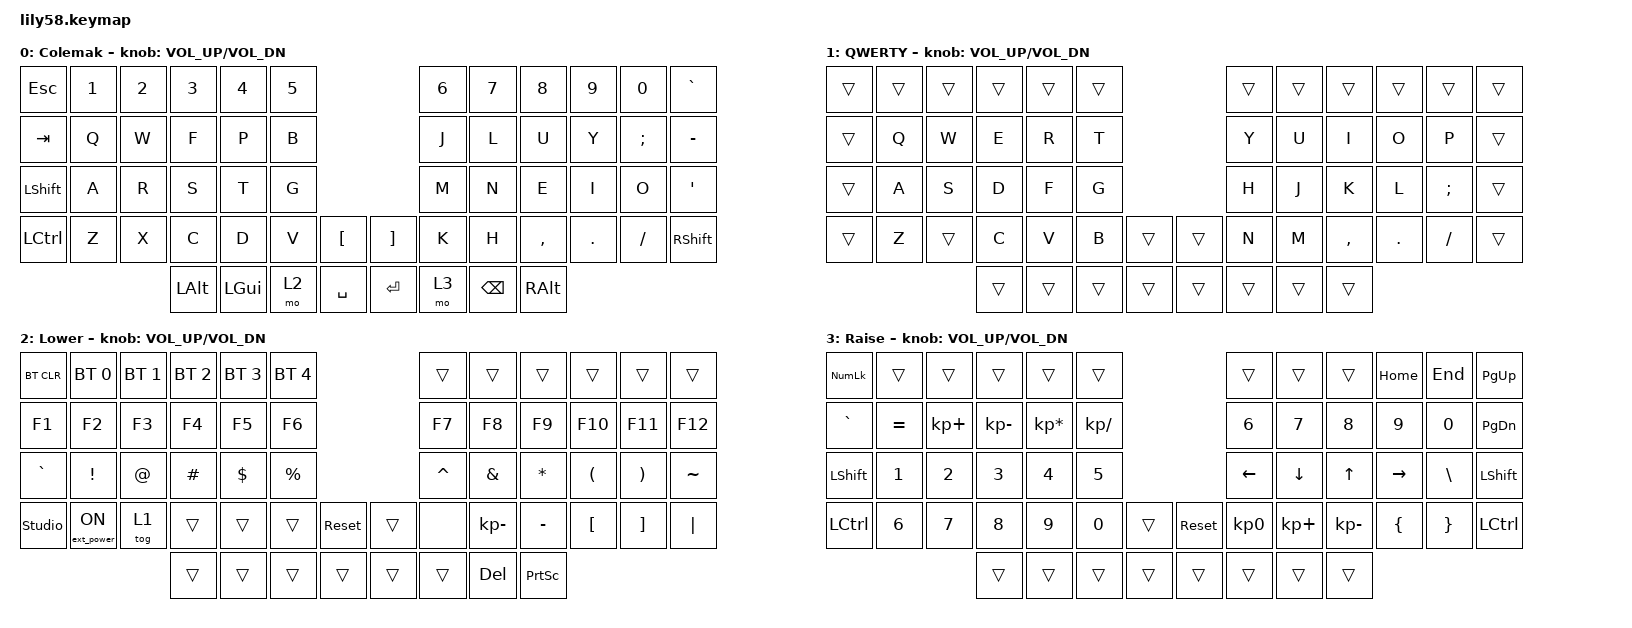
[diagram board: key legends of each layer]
/*
 * Copyright (c) 2020 The ZMK Contributors
 *
 * SPDX-License-Identifier: MIT
 */

#include <behaviors.dtsi>
#include <dt-bindings/zmk/keys.h>
#include <dt-bindings/zmk/bt.h>
#include <dt-bindings/zmk/ext_power.h>


/ {

	macros {
		plus: plus {
			compatible = "zmk,behavior-macro";
			#binding-cells = <0>;
			bindings = <&kp LS(EQUAL)>;
		};
	};

	keymap {
		compatible = "zmk,keymap";

		default_layer {
			display-name = "Colemak";
// ------------------------------------------------------------------------------------------------------------
// |  ESC  |  1  |  2  |  3   |  4   |  5   |                   |  6   |  7    |  8    |  9   |   0   |   `   |
// |  TAB  |  Q  |  W  |  F   |  P   |  B   |                   |  J   |  L    |  U    |  Y   |   ;   |   -   |
// | SHIFT |  A  |  R  |  S   |  T   |  G   |                   |  M   |  N    |  E    |  I   |   O   |   '   |
// | CTRL  |  Z  |  X  |  C   |  D   |  V   |   "["  |  |  "]"  |  K   |  H    |  ,    |  .   |   /   | SHIFT |
//                     | ALT  | GUI  | LOWER|  SPACE |  | ENTER | RAISE| BSPC  | RALT  |
			bindings = <
&kp ESC   &kp N1 &kp N2 &kp N3   &kp N4   &kp N5                     &kp N6 &kp N7   &kp N8    &kp N9  &kp N0   &kp GRAVE
&kp TAB   &kp Q  &kp W  &kp F    &kp P    &kp B                      &kp J  &kp L    &kp U     &kp Y   &kp SEMI &kp MINUS
&kp LSHFT &kp A  &kp R  &kp S    &kp T    &kp G                      &kp M  &kp N    &kp E     &kp I   &kp O    &kp SQT
&kp LCTRL &kp Z  &kp X  &kp C    &kp D    &kp V  &kp LBKT   &kp RBKT &kp K  &kp H    &kp COMMA &kp DOT &kp FSLH &kp RSHFT
                        &kp LALT &kp LGUI &mo 2  &kp SPACE  &kp RET  &mo 3  &kp BSPC &kp RALT
			>;

			sensor-bindings = <&inc_dec_kp C_VOL_UP C_VOL_DN>;
		};

		qwerty_layer {
			display-name = "QWERTY";
// ------------------------------------------------------------------------------------------------------------
// |       |     |     |      |      |      |                   |      |       |       |      |       |       |
// |       |  Q  |  W  |  E   |  R   |  T   |                   |  Y   |  U    |  I    |  O   |   P   |       |
// |       |  A  |  S  |  D   |  F   |  G   |                   |  H   |  J    |  K    |  L   |   ;   |       |
// |       |  Z  |  X  |  C   |  V   |  B   |        |  |       |  N   |  M    |  ,    |  .   |   /   |       |
//                     |      |      |      |        |  |       |      |       |       |
			bindings = <
&trans    &trans &trans &trans   &trans   &trans                     &trans &trans   &trans    &trans  &trans   &trans
&trans    &kp Q  &kp W  &kp E    &kp R    &kp T                      &kp Y  &kp U    &kp I     &kp O   &kp P    &trans
&trans    &kp A  &kp S  &kp D    &kp F    &kp G                      &kp H  &kp J    &kp K     &kp L   &kp SEMI &trans
&trans    &kp Z  &trans &kp C    &kp V    &kp B  &trans     &trans   &kp N  &kp M    &kp COMMA &kp DOT &kp FSLH &trans
                        &trans   &trans   &trans &trans     &trans   &trans &trans   &trans
			>;

			sensor-bindings = <&inc_dec_kp C_VOL_UP C_VOL_DN>;
		};

		lower_layer {
			display-name = "Lower";
// ------------------------------------------------------------------------------------------------------------
// | BTCLR | BT1 | BT2 |  BT3 |  BT4 |  BT5 |                   |      |       |       |      |       |       |
// |  F1   |  F2 |  F3 |  F4  |  F5  |  F6  |                   |  F7  |  F8   |  F9   |  F10 |  F11  |  F12  |
// |   `   |  !  |  @  |  #   |  $   |  %   |                   |  ^   |  &    |  *    |  (   |   )   |   ~   |
// |UNLOCK |EP_ON|     |      |      |      | RESET  |  |       | none |  KP-  |   -   |  [   |   ]   |   |   |
//                     |      |      |      |        |  |       |      |  DEL  | PSCRN |
			bindings = <
&bt BT_CLR &bt BT_SEL 0     &bt BT_SEL 1      &bt BT_SEL 2      &bt BT_SEL 3 &bt BT_SEL 4                 &trans &trans    &trans   &trans   &trans   &trans
&kp F1     &kp F2           &kp F3            &kp F4            &kp F5       &kp F6                       &kp F7 &kp F8    &kp F9   &kp F10  &kp F11  &kp F12
&kp GRAVE  &kp EXCL         &kp AT            &kp HASH          &kp DOLLAR   &kp PRCNT                    &kp CARET &kp AMPS &kp ASTRK &kp LPAR &kp RPAR &kp TILDE
&studio_unlock &ext_power EP_ON &tog 1           &trans            &trans    &trans       &sys_reset   &trans &none &kp KP_MINUS &kp MINUS &kp LBKT &kp RBKT &kp PIPE
                                              &trans            &trans       &trans       &trans       &trans &trans &kp DEL   &kp PSCRN
			>;

			sensor-bindings = <&inc_dec_kp C_VOL_UP C_VOL_DN>;
		};

		raise_layer {
			display-name = "Raise";
// ------------------------------------------------------------------------------------------------------------
// | NLCK  |     |     |      |      |      |                   |      |       |       | HOME | END   | PG_UP |
// |   `   |  =  | KP+ | KP-  | KP*  | KP/  |                   |  6   |  7    |  8    |  9   |   0   | PG_DN |
// | SHIFT |  1  |  2  |  3   |  4   |  5   |                   |  <-  |   v   |   ^   |  ->  |   \   | SHIFT |
// | CTRL  |  6  |  7  |  8   |  9   |  0   | RESET  |  | RESET | KP0  |  KP+  |  KP-  |  {   |   }   | CTRL  |
//                     |      |      |      |        |  |       |      |       |       |
			bindings = <
&kp KP_NUM &trans    &trans      &trans       &trans          &trans                              &trans   &trans   &trans    &kp HOME    &kp END   &kp PG_UP
&kp GRAVE  &kp EQUAL &kp KP_PLUS &kp KP_MINUS &kp KP_MULTIPLY &kp KP_DIVIDE                       &kp N6   &kp N7   &kp N8    &kp N9    &kp N0   &kp PG_DN
&kp LSHFT  &kp N1    &kp N2      &kp N3       &kp N4          &kp N5                              &kp LEFT &kp DOWN &kp UP    &kp RIGHT &kp BSLH &kp LSHFT
&kp LCTRL  &kp N6    &kp N7      &kp N8       &kp N9          &kp N0    &trans          &sys_reset    &kp KP_N0  &kp KP_PLUS &kp KP_MINUS &kp LBRC  &kp RBRC &kp LCTRL
                                 &trans       &trans          &trans    &trans      &trans        &trans   &trans   &trans
			>;

			sensor-bindings = <&inc_dec_kp C_VOL_UP C_VOL_DN>;
		};
	};
};
